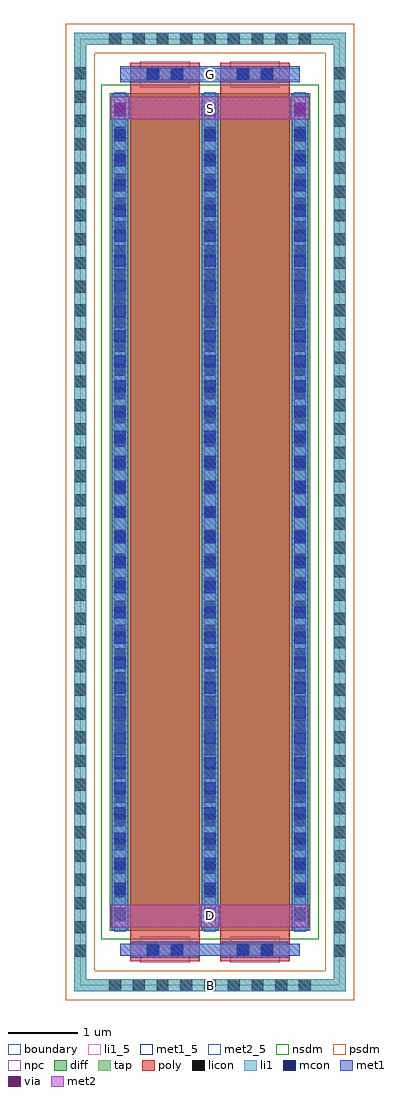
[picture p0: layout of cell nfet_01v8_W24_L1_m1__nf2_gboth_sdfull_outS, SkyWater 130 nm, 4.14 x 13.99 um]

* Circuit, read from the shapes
.subckt nfet_01v8_W24_L1_m1__nf2_gboth_sdfull_outS B D G S
XM1 D G S B sky130_fd_pr__nfet_01v8 w=12 l=1 m=2
.ends

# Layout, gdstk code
import gdstk
lib = gdstk.Library(unit=1e-6, precision=1e-09)
def R(c, l, rs):  # rectangles x0, y0, x1, y1
    for r in rs: c.add(gdstk.rectangle(r[:2], r[2:], *l))
def A(c, l, x, y, w, h, nx, ny, dx, dy):  # array of equal rectangles
    R(c, l, [(x+i*dx, y+j*dy, x+i*dx+w, y+j*dy+h) for i in range(nx) for j in range(ny)])
diff = (65, 20)
tap = (65, 44)
poly = (66, 20)
licon = (66, 44)
li1_5 = (67, 5)
li1 = (67, 20)
mcon = (67, 44)
met1_5 = (68, 5)
met1 = (68, 20)
via = (68, 44)
met2_5 = (69, 5)
met2 = (69, 20)
nsdm = (93, 44)
psdm = (94, 20)
npc = (95, 20)
boundary = (235, 4)

sky130_fd_pr__nfet_01v8_ = lib.new_cell('sky130_fd_pr__nfet_01v8_L8Z3TT')
R(sky130_fd_pr__nfet_01v8_, diff, [(-1.435,-6,1.435,6)])
R(sky130_fd_pr__nfet_01v8_, tap, [(-1.945,-6.87,1.945,-6.7), (-1.945,-6.7,-1.775,6.7), (1.775,-6.7,1.945,6.7), (-1.945,6.7,1.945,6.87)])
R(sky130_fd_pr__nfet_01v8_, poly, [(-1.145,-6.44,-0.145,6.44), (0.145,-6.44,1.145,6.44)])
A(sky130_fd_pr__nfet_01v8_, licon, -1.445, -6.87, 0.17, 0.17, 9, 2, 0.34, 13.57)
A(sky130_fd_pr__nfet_01v8_, licon, -1.945, -6.375, 0.17, 0.17, 1, 38, 0, 0.34)
A(sky130_fd_pr__nfet_01v8_, licon, 1.775, -6.375, 0.17, 0.17, 1, 38, 0, 0.34)
A(sky130_fd_pr__nfet_01v8_, licon, -1.375, -5.865, 0.17, 0.17, 3, 35, 1.29, 0.34)
R(sky130_fd_pr__nfet_01v8_, licon, [(-0.9,-6.36,-0.73,-6.19), (-0.56,-6.36,-0.39,-6.19), (0.39,-6.36,0.56,-6.19), (0.73,-6.36,0.9,-6.19), (-0.9,6.19,-0.73,6.36), (-0.56,6.19,-0.39,6.36), (0.39,6.19,0.56,6.36), (0.73,6.19,0.9,6.36)])
A(sky130_fd_pr__nfet_01v8_, li1, -1.375, -6.02, 0.17, 12.04, 3, 1, 1.29, 0)
R(sky130_fd_pr__nfet_01v8_, li1, [(-1.945,-6.87,1.945,-6.7), (-1.945,-6.7,-1.775,6.7), (1.775,-6.7,1.945,6.7), (-1.29,-6.36,1.29,-6.19), (-1.29,6.19,1.29,6.36), (-1.945,6.7,1.945,6.87)])
A(sky130_fd_pr__nfet_01v8_, mcon, -1.375, -5.845, 0.17, 0.17, 3, 33, 1.29, 0.36)
R(sky130_fd_pr__nfet_01v8_, mcon, [(-0.91,-6.36,-0.74,-6.19), (-0.55,-6.36,-0.38,-6.19), (0.38,-6.36,0.55,-6.19), (0.74,-6.36,0.91,-6.19), (-0.91,6.19,-0.74,6.36), (-0.55,6.19,-0.38,6.36), (0.38,6.19,0.55,6.36), (0.74,6.19,0.91,6.36)])
A(sky130_fd_pr__nfet_01v8_, met1, -1.405, -6, 0.23, 12, 3, 1, 1.29, 0)
R(sky130_fd_pr__nfet_01v8_, met1, [(-1.125,-6.39,-0.165,-6.36), (0.165,-6.39,1.125,-6.36), (-1.29,-6.36,1.29,-6.19), (-1.125,-6.19,-0.165,-6.16), (0.165,-6.19,1.125,-6.16), (-1.125,6.16,-0.165,6.19), (0.165,6.16,1.125,6.19), (-1.29,6.19,1.29,6.36), (-1.125,6.36,-0.165,6.39), (0.165,6.36,1.125,6.39)])
R(sky130_fd_pr__nfet_01v8_, nsdm, [(-1.56,-6.125,1.56,6.125)])
R(sky130_fd_pr__nfet_01v8_, psdm, [(-2.07,-6.995,2.07,-6.575), (-2.07,-6.575,-1.65,6.575), (1.65,-6.575,2.07,6.575), (-2.07,6.575,2.07,6.995)])
R(sky130_fd_pr__nfet_01v8_, npc, [(-1,-6.46,-0.29,-6.09), (0.29,-6.46,1,-6.09), (-1,6.09,-0.29,6.46), (0.29,6.09,1,6.46)])
R(sky130_fd_pr__nfet_01v8_, boundary, [(-1.86,-6.785,1.86,6.785)])
sky130_fd_pr__nfet_01v8_.add(gdstk.Label('B', (0,-6.785), layer=67, texttype=5))
sky130_fd_pr__nfet_01v8_.add(gdstk.Label('D0', (-1.29,0), layer=67, texttype=5))
sky130_fd_pr__nfet_01v8_.add(gdstk.Label('G', (0.645,6.275), layer=67, texttype=5))
sky130_fd_pr__nfet_01v8_.add(gdstk.Label('G', (-0.645,6.275), layer=67, texttype=5))
sky130_fd_pr__nfet_01v8_.add(gdstk.Label('S1', (0,0), layer=67, texttype=5))

nfet_01v8_w24_l1_m1__nf2 = lib.new_cell('nfet_01v8_W24_L1_m1__nf2_gboth_sdfull_outS')
R(nfet_01v8_w24_l1_m1__nf2, li1_5, [(1.775,-0.085,1.945,0.085)])
R(nfet_01v8_w24_l1_m1__nf2, li1, [(1.775,-0.085,1.945,0.085)])
R(nfet_01v8_w24_l1_m1__nf2, met1_5, [(0.57,12.945,3.15,13.175)])
R(nfet_01v8_w24_l1_m1__nf2, met1, [(1.73,0.835,1.99,1.155), (0.44,12.415,0.7,12.735), (3.02,12.415,3.28,12.735), (0.57,12.945,3.15,13.175)])
R(nfet_01v8_w24_l1_m1__nf2, via, [(1.785,0.92,1.935,1.07), (0.495,12.5,0.645,12.65), (3.075,12.5,3.225,12.65)])
R(nfet_01v8_w24_l1_m1__nf2, met2_5, [(0.435,0.835,3.285,1.155), (0.435,12.415,3.285,12.735)])
R(nfet_01v8_w24_l1_m1__nf2, met2, [(0.435,0.835,3.285,1.155), (0.435,12.415,3.285,12.735)])
nfet_01v8_w24_l1_m1__nf2.add(gdstk.Reference(sky130_fd_pr__nfet_01v8_, (1.86,6.785)))
nfet_01v8_w24_l1_m1__nf2.add(gdstk.Label('S', (1.86,12.575), layer=69, texttype=5))
nfet_01v8_w24_l1_m1__nf2.add(gdstk.Label('D', (1.86,0.995), layer=69, texttype=5))
nfet_01v8_w24_l1_m1__nf2.add(gdstk.Label('G', (1.86,13.06), layer=68, texttype=5))
nfet_01v8_w24_l1_m1__nf2.add(gdstk.Label('B', (1.86,0), layer=67, texttype=5))

lib.write_gds('nfet_01v8_W24_L1_m1__nf2_gboth_sdfull_outS.gds')
